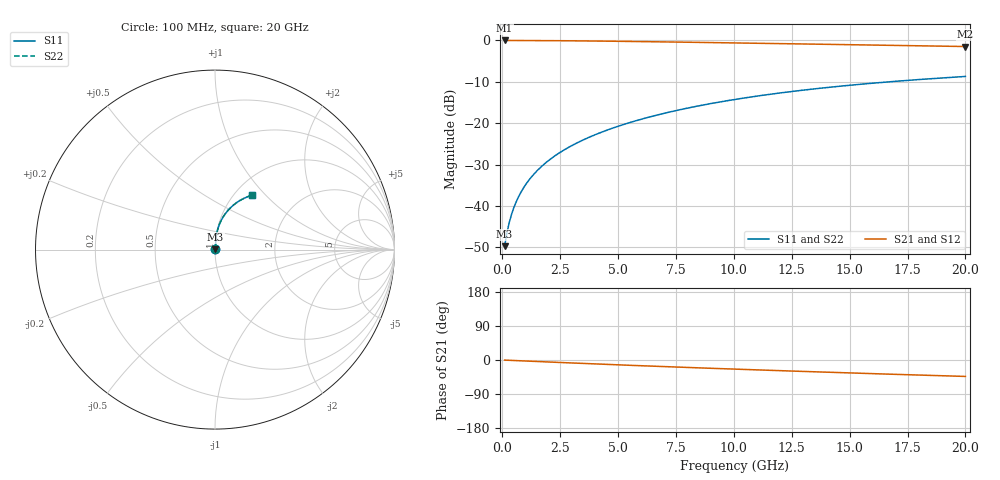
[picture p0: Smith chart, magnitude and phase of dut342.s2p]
! Touchstone file exported from HFSS 2024.1.0
!  File:  C:/UserFiles/LocalFiles/RDL_TSV_Batchsim/temp_RDL_bottom_342_1779611969.aedt
!  Generated:  04:42:07 PM May 24, 2026
!  Design:  RDL_bottom
!  Project:  temp_RDL_bottom_342_1779611969
!  Setup:  Setup1
!  Solution:  Sweep
! Variables:
!  dtsv = 10.80580581um
!  hbump = 3um
!  htsv = 95.94um
!  ldown = 622.66um
!  lrdl = 100um
!  p = 40
!  p1 = 51.65um
!  rhole = 1um
!  t = 450um
!  tdown = 3.82um
!  trdl = 3.915915916um
!  wdown = 23.88um
!  wrdl = 20um
# GHz S MA R 50.000000
! Terminal data exported
! Port[1] = RDL1_T1
! Port[2] = RDL1_T2
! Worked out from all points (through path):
!   200 points, 100 MHz to 20 GHz, reference 50 ohm
!   highest |S21| = -0.02 dB at 100 MHz (marker M1); lowest = -1.5 dB at 20 GHz (marker M2)
!   group delay of S21, straight-line fit = 5.97 ps
!   lowest |S11| = -49.7 dB at 100 MHz (marker M3), VSWR 1.01, Z = 50.3 + j0.197 ohm
!   |S11| at or under -10 dB: start of sweep to 16.72 GHz
!   |S22| runs from -49.7 to -8.7 dB; largest |S21 - S12| = 1.6e-15
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0.1  0.003275 36.8  0.9974 -0.3  0.9974 -0.3  0.003275 36.8
! Gamma 0 0 0 0
! Port Impedance 50 0 50 0
0.2  0.00473 54.0  0.9972 -0.6  0.9972 -0.6  0.00473 54.0
0.3  0.006322 62.4  0.997 -0.8  0.997 -0.8  0.006322 62.4
0.4  0.00794 67.4  0.9968 -1.1  0.9968 -1.1  0.00794 67.4
0.5  0.009573 70.9  0.9966 -1.3  0.9966 -1.3  0.009573 70.9
0.6  0.01122 73.4  0.9964 -1.6  0.9964 -1.6  0.01122 73.4
0.8  0.01457 76.9  0.9961 -2.1  0.9961 -2.1  0.01457 76.9
1.1  0.01969 79.9  0.9954 -2.9  0.9954 -2.9  0.01969 79.9
1.3  0.02314 81.2  0.9949 -3.4  0.9949 -3.4  0.02314 81.2
1.6  0.02839 82.5  0.994 -4.2  0.994 -4.2  0.02839 82.5
2.1  0.03725 83.8  0.9922 -5.5  0.9922 -5.5  0.03725 83.8
2.7  0.0481 84.4  0.9894 -7.1  0.9894 -7.1  0.0481 84.4
3.5  0.06292 84.6  0.9849 -9.1  0.9849 -9.1  0.06292 84.6
4.2  0.07622 84.3  0.9804 -10.8  0.9804 -10.8  0.07622 84.3
5  0.09177 83.7  0.9746 -12.8  0.9746 -12.8  0.09176 83.7
6.8  0.1277 81.3  0.96 -17.0  0.96 -17.0  0.1277 81.3
8.4  0.1603 78.6  0.9461 -20.6  0.9461 -20.6  0.1602 78.6
10.1  0.1946 75.3  0.9309 -24.2  0.9309 -24.2  0.1945 75.3
11.7  0.226 72.1  0.9165 -27.6  0.9165 -27.6  0.226 72.1
13.4  0.2582 68.6  0.9011 -31.0  0.9011 -31.0  0.2582 68.6
16.7  0.3158 62.0  0.8714 -37.4  0.8714 -37.4  0.3158 62.0
20  0.3664 55.7  0.8424 -43.4  0.8424 -43.4  0.3664 55.7
